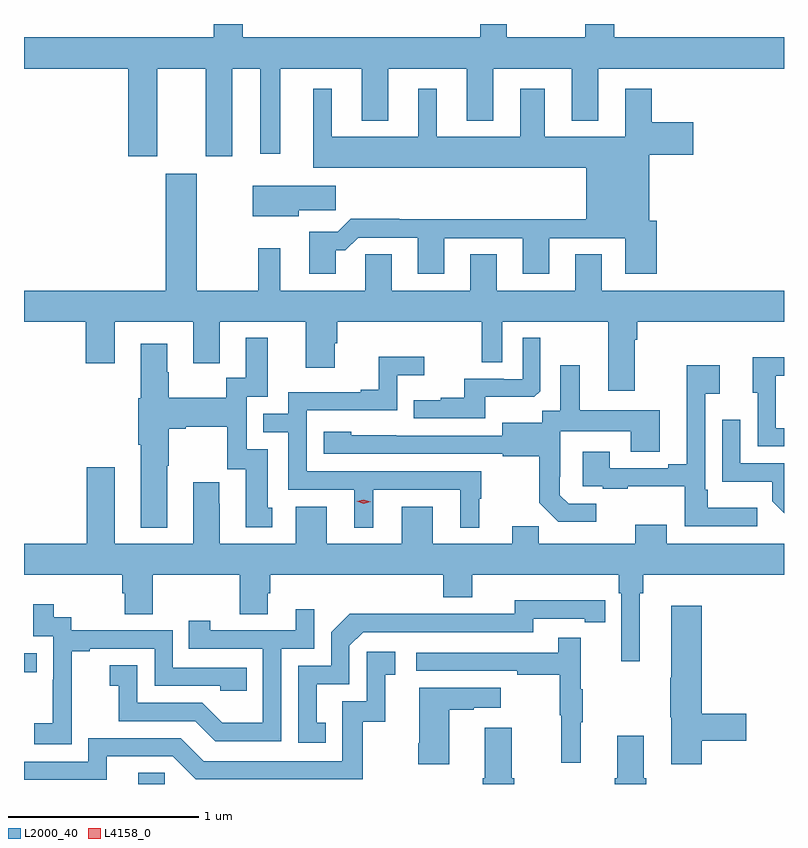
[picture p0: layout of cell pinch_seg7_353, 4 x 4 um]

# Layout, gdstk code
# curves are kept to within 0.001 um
import gdstk
lib = gdstk.Library(unit=1e-6, precision=1e-09)
def R(c, l, rs):  # rectangles x0, y0, x1, y1
    for r in rs: c.add(gdstk.rectangle(r[:2], r[2:], *l))
def P(c, l, *ps):  # polygons
    for p in ps: c.add(gdstk.Polygon(p, *l))
L2000_40 = (2000, 40)
L4158_0 = (4158, 0)

pinch_seg7_353 = lib.new_cell('pinch_seg7_353')
R(pinch_seg7_353, L2000_40, [(382.757,1016.831,382.896,1016.891), (382.155,1017.418,382.223,1017.519)])
P(pinch_seg7_353, L2000_40, [(385.109,1020.831),(385.109,1020.76),(384.697,1020.76),(384.697,1020.831),(384.557,1020.831),(384.557,1020.76),(383.306,1020.76),(383.306,1020.831),(383.153,1020.831),(383.153,1020.76),(382.155,1020.76),(382.155,1020.596),(382.703,1020.596),(382.703,1020.135),(382.855,1020.135),(382.855,1020.596),(383.111,1020.596),(383.111,1020.135),(383.251,1020.135),(383.251,1020.596),(383.399,1020.596),(383.399,1020.147),(383.503,1020.147),(383.503,1020.596),(383.933,1020.596),(383.933,1020.323),(384.073,1020.323),(384.073,1020.596),(384.485,1020.596),(384.485,1020.323),(384.625,1020.323),(384.625,1020.596),(385.037,1020.596),(385.037,1020.323),(385.177,1020.323),(385.177,1020.596),(386.155,1020.596),(386.155,1020.76),(385.262,1020.76),(385.262,1020.831)],
  [(383.797,1019.639),(383.846,1019.639),(383.913,1019.706),(384.227,1019.706),(384.227,1019.517),(384.367,1019.517),(384.367,1019.703),(384.779,1019.703),(384.779,1019.517),(384.919,1019.517),(384.919,1019.703),(385.319,1019.703),(385.319,1019.517),(385.484,1019.517),(385.484,1019.796),(385.447,1019.796),(385.447,1020.143),(385.678,1020.143),(385.678,1020.313),(385.46,1020.313),(385.46,1020.49),(385.319,1020.49),(385.319,1020.238),(384.895,1020.238),(384.895,1020.49),(384.767,1020.49),(384.767,1020.238),(384.328,1020.238),(384.328,1020.49),(384.23,1020.49),(384.23,1020.238),(383.776,1020.238),(383.776,1020.49),(383.678,1020.49),(383.678,1020.074),(385.115,1020.074),(385.115,1019.804),(384.131,1019.804),(384.131,1019.807),(383.876,1019.807),(383.806,1019.737),(383.657,1019.737),(383.657,1019.517),(383.797,1019.517)],
  [(385.369,1019.168),(385.382,1019.168),(385.382,1019.264),(386.155,1019.264),(386.155,1019.428),(385.195,1019.428),(385.195,1019.618),(385.055,1019.618),(385.055,1019.428),(384.643,1019.428),(384.643,1019.618),(384.503,1019.618),(384.503,1019.428),(384.091,1019.428),(384.091,1019.618),(383.952,1019.618),(383.952,1019.428),(383.503,1019.428),(383.503,1019.65),(383.389,1019.65),(383.389,1019.428),(383.065,1019.428),(383.065,1020.043),(382.901,1020.043),(382.901,1019.428),(382.155,1019.428),(382.155,1019.264),(382.481,1019.264),(382.481,1019.046),(382.633,1019.046),(382.633,1019.264),(383.045,1019.264),(383.045,1019.046),(383.185,1019.046),(383.185,1019.264),(383.639,1019.264),(383.639,1019.022),(383.791,1019.022),(383.791,1019.151),(383.804,1019.151),(383.804,1019.264),(384.564,1019.264),(384.564,1019.05),(384.672,1019.05),(384.672,1019.264),(385.229,1019.264),(385.229,1018.902),(385.369,1018.902)],
  [(383.602,1019.851),(383.797,1019.851),(383.797,1019.98),(383.358,1019.98),(383.358,1019.819),(383.602,1019.819)],
  [(384.583,1018.868),(384.841,1018.868),(384.873,1018.899),(384.873,1019.179),(384.78,1019.179),(384.78,1018.962),(384.68,1018.962),(384.68,1018.965),(384.473,1018.965),(384.473,1018.864),(384.349,1018.864),(384.349,1018.852),(384.205,1018.852),(384.205,1018.755),(384.583,1018.755)],
  [(382.909,1018.507),(382.917,1018.507),(382.917,1018.7),(383.005,1018.7),(383.005,1018.712),(383.225,1018.712),(383.225,1018.488),(383.321,1018.488),(383.321,1018.182),(383.461,1018.182),(383.461,1018.284),(383.437,1018.284),(383.437,1018.593),(383.328,1018.593),(383.328,1018.869),(383.437,1018.869),(383.437,1019.179),(383.321,1019.179),(383.321,1018.97),(383.22,1018.97),(383.22,1018.864),(382.917,1018.864),(382.917,1018.998),(382.909,1018.998),(382.909,1019.149),(382.769,1019.149),(382.769,1018.86),(382.757,1018.86),(382.757,1018.616),(382.769,1018.616),(382.769,1018.181),(382.909,1018.181)],
  [(383.992,1018.38),(384.452,1018.38),(384.452,1018.181),(384.55,1018.181),(384.55,1018.332),(384.562,1018.332),(384.562,1018.476),(383.643,1018.476),(383.643,1018.797),(384.12,1018.797),(384.12,1018.982),(384.262,1018.982),(384.262,1019.081),(384.022,1019.081),(384.022,1018.906),(383.927,1018.906),(383.927,1018.893),(383.547,1018.893),(383.547,1018.779),(383.413,1018.779),(383.413,1018.683),(383.547,1018.683),(383.547,1018.38),(383.894,1018.38),(383.894,1018.181),(383.992,1018.181)],
  [(386.155,1018.704),(386.112,1018.704),(386.112,1018.98),(386.155,1018.98),(386.155,1019.078),(385.991,1019.078),(385.991,1018.89),(386.016,1018.89),(386.016,1018.608),(386.155,1018.608)],
  [(385.168,1018.305),(385.023,1018.305),(384.976,1018.352),(384.976,1018.447),(384.978,1018.447),(384.978,1018.688),(385.349,1018.688),(385.349,1018.579),(385.501,1018.579),(385.501,1018.798),(385.081,1018.798),(385.081,1019.035),(384.977,1019.035),(384.977,1018.796),(384.882,1018.796),(384.882,1018.732),(384.671,1018.732),(384.671,1018.665),(383.877,1018.666),(383.877,1018.684),(383.733,1018.684),(383.733,1018.569),(384.675,1018.569),(384.675,1018.557),(384.867,1018.557),(384.867,1018.311),(384.967,1018.211),(385.168,1018.211)],
  [(386.014,1018.285),(385.753,1018.285),(385.753,1018.381),(385.74,1018.381),(385.74,1018.886),(385.816,1018.886),(385.816,1019.035),(385.643,1019.035),(385.643,1018.513),(385.547,1018.513),(385.547,1018.494),(385.237,1018.494),(385.237,1018.579),(385.097,1018.579),(385.097,1018.398),(385.201,1018.398),(385.201,1018.386),(385.333,1018.386),(385.333,1018.397),(385.632,1018.397),(385.632,1018.188),(386.014,1018.188)],
  [(386.155,1018.518),(385.926,1018.518),(385.926,1018.747),(385.83,1018.747),(385.83,1018.421),(386.092,1018.421),(386.092,1018.319),(386.155,1018.256)],
  [(385.396,1017.836),(385.415,1017.836),(385.415,1017.932),(386.155,1017.932),(386.155,1018.096),(385.537,1018.096),(385.537,1018.195),(385.373,1018.195),(385.373,1018.096),(384.863,1018.096),(384.863,1018.187),(384.725,1018.187),(384.725,1018.096),(384.307,1018.096),(384.307,1018.291),(384.143,1018.291),(384.143,1018.096),(383.749,1018.096),(383.749,1018.291),(383.585,1018.291),(383.585,1018.096),(383.185,1018.096),(383.185,1018.307),(383.182,1018.307),(383.182,1018.42),(383.045,1018.42),(383.045,1018.096),(382.633,1018.096),(382.633,1018.498),(382.486,1018.498),(382.486,1018.096),(382.155,1018.096),(382.155,1017.932),(382.673,1017.932),(382.673,1017.834),(382.685,1017.834),(382.685,1017.724),(382.833,1017.724),(382.833,1017.932),(383.29,1017.932),(383.29,1017.724),(383.437,1017.724),(383.437,1017.834),(383.45,1017.834),(383.45,1017.932),(384.362,1017.932),(384.362,1017.815),(384.514,1017.815),(384.514,1017.932),(385.286,1017.932),(385.286,1017.836),(385.299,1017.836),(385.299,1017.477),(385.396,1017.477)],
  [(383.744,1017.153),(383.695,1017.153),(383.695,1017.357),(383.868,1017.357),(383.868,1017.558),(383.94,1017.63),(384.834,1017.63),(384.834,1017.702),(385.106,1017.702),(385.106,1017.682),(385.214,1017.682),(385.214,1017.798),(384.738,1017.799),(384.738,1017.726),(384.278,1017.726),(384.278,1017.728),(383.87,1017.728),(383.772,1017.63),(383.772,1017.453),(383.598,1017.453),(383.598,1017.048),(383.744,1017.048)],
  [(382.407,1017.247),(382.406,1017.247),(382.406,1017.531),(382.501,1017.531),(382.501,1017.543),(382.842,1017.543),(382.842,1017.348),(383.187,1017.348),(383.187,1017.321),(383.327,1017.321),(383.327,1017.444),(382.938,1017.444),(382.938,1017.639),(382.404,1017.639),(382.404,1017.708),(382.312,1017.708),(382.312,1017.778),(382.203,1017.778),(382.203,1017.609),(382.308,1017.609),(382.308,1017.38),(382.307,1017.38),(382.307,1017.151),(382.209,1017.151),(382.209,1017.041),(382.407,1017.041)],
  [(385.721,1017.058),(385.957,1017.058),(385.957,1017.2),(385.721,1017.2),(385.721,1017.769),(385.562,1017.769),(385.562,1017.389),(385.555,1017.389),(385.555,1017.183),(385.562,1017.183),(385.562,1016.934),(385.721,1016.934)],
  [(383.508,1017.543),(383.682,1017.543),(383.682,1017.751),(383.585,1017.751),(383.585,1017.639),(383.134,1017.639),(383.134,1017.691),(383.023,1017.691),(383.023,1017.543),(383.412,1017.543),(383.412,1017.154),(383.198,1017.154),(383.094,1017.258),(382.752,1017.258),(382.752,1017.457),(382.605,1017.457),(382.605,1017.347),(382.654,1017.347),(382.654,1017.162),(383.057,1017.162),(383.162,1017.057),(383.508,1017.057)],
  [(385.085,1017.155),(385.096,1017.155),(385.096,1017.329),(385.085,1017.329),(385.085,1017.601),(384.967,1017.601),(384.967,1017.522),(384.219,1017.522),(384.219,1017.426),(384.751,1017.426),(384.751,1017.406),(384.975,1017.406),(384.975,1017.192),(384.982,1017.192),(384.982,1016.943),(385.085,1016.943)],
  [(382.591,1016.976),(382.938,1016.976),(383.058,1016.856),(383.938,1016.856),(383.938,1017.159),(384.056,1017.159),(384.056,1017.405),(384.109,1017.405),(384.109,1017.526),(383.958,1017.526),(383.958,1017.267),(383.829,1017.267),(383.829,1016.952),(383.1,1016.952),(382.98,1017.072),(382.494,1017.072),(382.494,1016.949),(382.155,1016.949),(382.155,1016.853),(382.591,1016.853)],
  [(384.394,1017.223),(384.521,1017.223),(384.521,1017.233),(384.664,1017.233),(384.664,1017.337),(384.236,1017.337),(384.236,1017.046),(384.229,1017.046),(384.229,1016.934),(384.394,1016.934)],
  [(384.734,1016.86),(384.721,1016.86),(384.721,1017.127),(384.581,1017.127),(384.581,1016.86),(384.569,1016.86),(384.569,1016.831),(384.734,1016.831)],
  [(385.43,1016.86),(385.417,1016.86),(385.417,1017.085),(385.277,1017.085),(385.277,1016.86),(385.265,1016.86),(385.265,1016.831),(385.43,1016.831)])
P(pinch_seg7_353, L4158_0, [(383.943,1018.307),(383.907,1018.318),(383.907,1018.318),(383.907,1018.318),(383.943,1018.327),(383.979,1018.317),(383.979,1018.317),(383.979,1018.316)])

lib.write_gds('pinch_seg7_353.gds')
